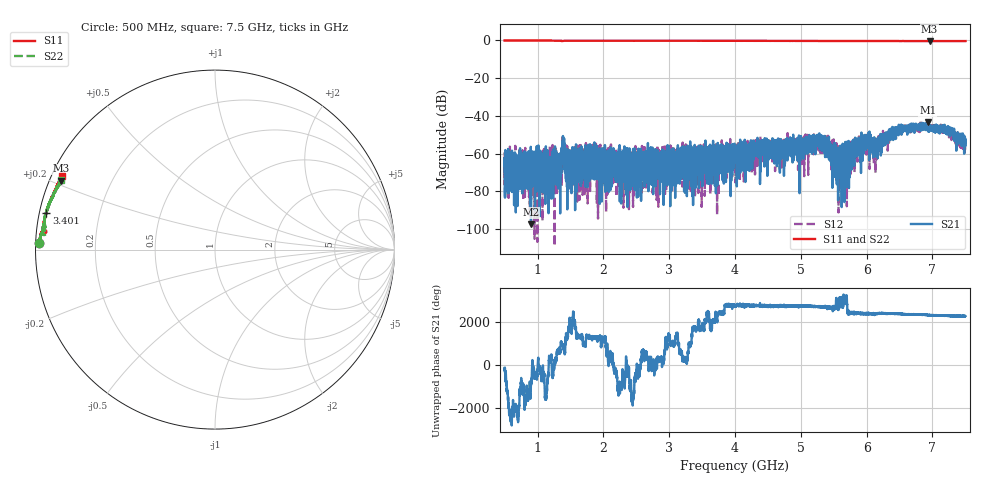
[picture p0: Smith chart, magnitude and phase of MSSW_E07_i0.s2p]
!Keysight Technologies,M9374A,MY55442783,A.12.55.05
!Date: Thursday, May 20, 2021 16:30:42
!Correction: S11(Full 2 Port(1,2))
!S21(Full 2 Port(1,2))
!S12(Full 2 Port(1,2))
!S22(Full 2 Port(1,2))
!S2P File: Measurements: S11, S21, S12, S22:
# Hz S  RI  R 50
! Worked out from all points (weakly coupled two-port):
!   7001 points, 500 MHz to 7.5 GHz, reference 50 ohm
!   highest |S21| = -43.55 dB at 6.928 GHz (marker M1); lowest = -97.6 dB at 901 MHz (marker M2)
!   lowest |S11| = -0.5 dB at 6.955 GHz (marker M3), VSWR 33.07, Z = 1.58 + j10.7 ohm
!   |S11| at or under -10 dB: nowhere
!   |S22| runs from -0.6 to -0.2 dB; largest |S21 - S12| = 0.0036
!   S11 on the Smith chart (normalised r, x): 500 MHz: 0.01, +0.02; 3.401 GHz: 0.02, +0.11; 7.5 GHz: 0.03, +0.23
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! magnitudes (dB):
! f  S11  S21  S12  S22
! 500 MHz  -0.2  -64.0  -70.5  -0.2
! 612 MHz  -0.2  -58.5  -70.1  -0.2
! 901 MHz  -0.2  -97.6  -63.3  -0.2
! 1.306 GHz  -0.3  -64.8  -63.7  -0.3
! 1.403 GHz  -0.3  -53.5  -55.2  -0.3
! 1.489 GHz  -0.3  -64.7  -61.4  -0.3
! 1.667 GHz  -0.3  -61.0  -61.7  -0.3
! 1.854 GHz  -0.3  -67.6  -61.5  -0.3
! 2.235 GHz  -0.3  -69.4  -67.6  -0.4
! 2.834 GHz  -0.3  -60.1  -60.3  -0.3
! 3.401 GHz  -0.3  -68.3  -66.4  -0.3
! 4 GHz  -0.4  -62.8  -58.3  -0.3
! 5.167 GHz  -0.4  -53.3  -58.3  -0.4
! 5.413 GHz  -0.4  -53.3  -50.6  -0.4
! 5.534 GHz  -0.4  -69.3  -63.7  -0.5
! 5.655 GHz  -0.4  -68.8  -71.4  -0.4
! 5.807 GHz  -0.4  -53.1  -54.5  -0.4
! 6.135 GHz  -0.5  -57.4  -57.6  -0.4
! 6.334 GHz  -0.5  -50.9  -51.0  -0.5
! 6.928 GHz  -0.5  -43.5  -45.3  -0.5
! 6.955 GHz  -0.5  -46.8  -45.1  -0.5
! 7.5 GHz  -0.5  -54.3  -53.9  -0.5
